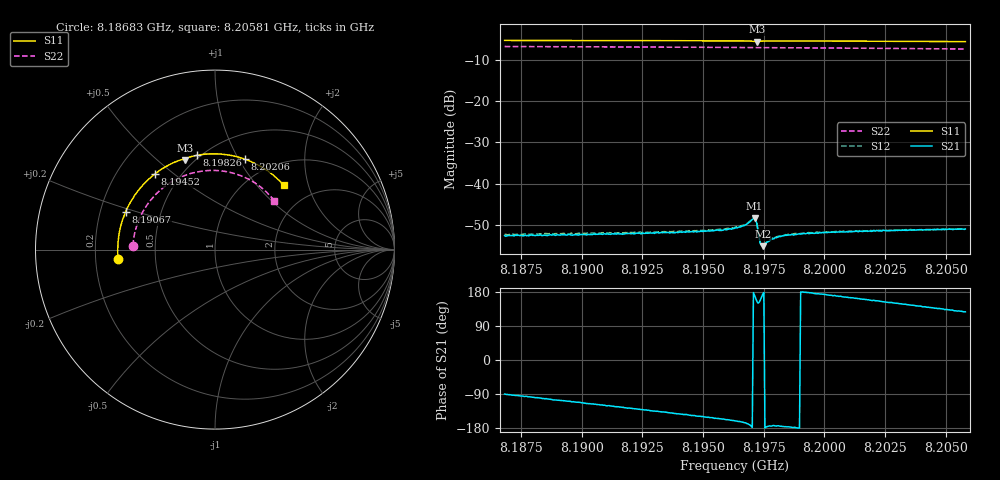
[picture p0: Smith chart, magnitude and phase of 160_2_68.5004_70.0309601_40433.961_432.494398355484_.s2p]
#  HZ  S  RI  R  50.00
! Rohde & Schwarz Vector Network Analyzer
! Rohde-Schwarz,ZNB20-2Port,1311601062101988,3.16
! Created: UTC 3/20/2024, 4:55:45 PM
! freq[Hz]  re:S11  im:S11  re:S21  im:S21  re:S12  im:S12  re:S22  im:S22
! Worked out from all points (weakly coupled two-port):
!   401 points, 8.18683 GHz to 8.20581 GHz, reference 50 ohm
!   highest |S21| = -48.44 dB at 8.19713 GHz (marker M1); lowest = -55.2 dB at 8.19746 GHz (marker M2)
!   lowest |S11| = -5.6 dB at 8.19722 GHz (marker M3), VSWR 3.20, Z = 22.6 + j30.9 ohm
!   |S11| at or under -10 dB: nowhere
!   |S22| runs from -7.4 to -6.8 dB; largest |S21 - S12| = 0.00022
!   S11 on the Smith chart (normalised r, x): 8.18683 GHz: 0.30, -0.05; 8.19067 GHz: 0.31, +0.18; 8.19452 GHz: 0.36, +0.43; 8.19826 GHz: 0.48, +0.71; 8.20206 GHz: 0.76, +1.06; 8.20581 GHz: 1.43, +1.41
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8.186828e9  -0.5396 -0.0543  4.13e-06 -0.00234  -2.63e-05 -0.0024  -0.4576 0.0221
8.188394e9  -0.5389 0.0551  -0.000487 -0.00229  -0.00052 -0.00239  -0.4435 0.1076
8.190007e9  -0.5151 0.1655  -0.000938 -0.00222  -0.00102 -0.00225  -0.4122 0.1912
8.190672e9  -0.4986 0.2089  -0.00112 -0.00215  -0.00124 -0.00219  -0.3951 0.2235
8.193187e9  -0.404 0.3571  -0.0018 -0.00174  -0.00196 -0.00171  -0.306 0.3306
8.194516e9  -0.3355 0.4209  -0.00218 -0.00144  -0.00223 -0.00139  -0.2467 0.3749
8.195749e9  -0.2625 0.4689  -0.00245 -0.00111  -0.00258 -0.00106  -0.1858 0.4064
8.196319e9  -0.2257 0.4867  -0.00272 -0.000955  -0.00281 -0.000851  -0.1557 0.4179
8.196746e9  -0.1962 0.498  -0.00304 -0.000778  -0.00316 -0.000642  -0.1329 0.425
8.197031e9  -0.174 0.5019  -0.00366 -0.000153  -0.0037 -1.46e-05  -0.1173 0.4287
8.197126e9  -0.1671 0.4997  -0.00374 0.000615  -0.00378 0.00075  -0.1123 0.4298
8.197173e9  -0.1654 0.4977  -0.00346 0.00108  -0.00347 0.00123  -0.1096 0.4304
8.197221e9  -0.1656 0.4969  -0.00295 0.00138  -0.00291 0.0015  -0.1069 0.431
8.197363e9  -0.1635 0.5041  -0.00174 0.00069  -0.00174 0.00079  -0.0994 0.4328
8.19741e9  -0.1605 0.5067  -0.00171 0.000428  -0.0017 0.000486  -0.0967 0.4334
8.197458e9  -0.1572 0.509  -0.00173 0.000218  -0.00174 0.000292  -0.094 0.4338
8.197885e9  -0.126 0.5201  -0.00211 -0.000259  -0.00218 -0.000154  -0.0704 0.4377
8.198265e9  -0.0988 0.5259  -0.00231 -0.000198  -0.00235 -0.000104  -0.0489 0.4399
8.199498e9  -0.0114 0.5337  -0.0025 0.000139  -0.00251 0.000273  0.0208 0.4399
8.202061e9  0.1666 0.5039  -0.00246 0.00103  -0.00244 0.00115  0.1616 0.4045
8.202678e9  0.2071 0.4878  -0.00235 0.00126  -0.00233 0.00138  0.1934 0.3888
8.20581e9  0.3848 0.3572  -0.0017 0.00224  -0.00163 0.0023  0.3302 0.2716
